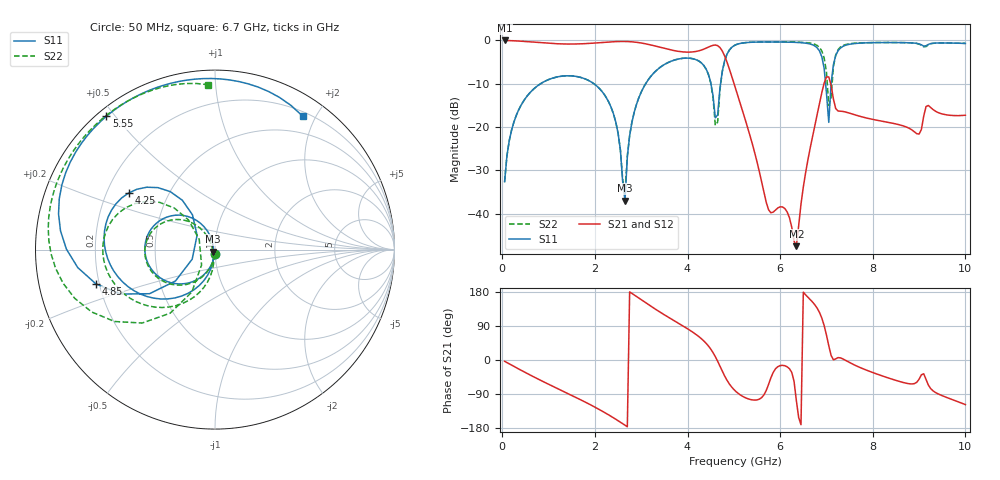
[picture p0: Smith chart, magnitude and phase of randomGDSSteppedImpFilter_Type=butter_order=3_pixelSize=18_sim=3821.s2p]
! freq	dB(S11)	phase(S11)	dB(S12)	phase(S12)
!  dB(S21)	phase(S21)	dB(S22)	phase(S22)
!S-par simulation data
#  GHz  S  DB  R 50
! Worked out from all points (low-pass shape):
!   200 points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, 50 MHz to 10 GHz, reference 50 ohm
!   highest |S21| = -0.01 dB at 50 MHz (marker M1); lowest = -47.5 dB at 6.35 GHz (marker M2)
!   |S21| within 3 dB of the highest: start of sweep to 4.776 GHz
!   lowest |S11| = -37.0 dB at 2.65 GHz (marker M3), VSWR 1.03, Z = 49.1 - j1.04 ohm
!   |S11| at or under -10 dB: start of sweep to 827.1 MHz; 1.978 GHz to 3.096 GHz (1.118 GHz wide, 44.1 % of centre); 4.506 GHz to 4.713 GHz (207.4 MHz wide, 4.5 % of centre) (the widest 3 of 4)
!   |S22| runs from -35.1 to -0.3 dB; largest |S21 - S12| = 0
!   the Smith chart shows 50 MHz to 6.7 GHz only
!   S11 on the Smith chart (normalised r, x): 50 MHz: 1.00, -0.05; 4.25 GHz: 0.29, +0.27; 4.85 GHz: 0.19, -0.14; 5.55 GHz: 0.03, +0.48; 6.7 GHz: 0.25, +1.82
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0.05  -32.62 -93.5  -0.01 -3.4  -0.01 -3.4  -32.62 -93.3
0.2  -20.72 -104.1  -0.06 -13.5  -0.06 -13.5  -20.72 -103.6
0.5  -13.35 -124.4  -0.25 -33.2  -0.25 -33.2  -13.35 -122.9
1.75  -8.73 158.7  -0.76 -108.5  -0.76 -108.5  -8.73 164.1
2.4  -16.93 115.7  -0.29 -152.5  -0.29 -152.5  -16.93 124.4
2.65  -36.95 -131.5  -0.24 -172.1  -0.24 -172.1  -35.08 -131.4
2.85  -16.52 -106.2  -0.37 171.5  -0.37 171.5  -16.47 -99.8
3.4  -6.29 -149.4  -1.56 126.8  -1.56 126.8  -6.27 -139.7
4.25  -4.80 146.8  -2.38 61.2  -2.38 61.2  -4.80 159.3
4.5  -9.64 123.5  -1.32 29.0  -1.32 29.0  -9.78 134.4
4.6  -17.87 141.3  -1.06 8.8  -1.06 8.8  -19.59 147.1
4.85  -3.22 -163.9  -4.94 -53.0  -4.94 -53.0  -3.25 -144.4
5.05  -0.97 167.1  -11.52 -83.7  -11.52 -83.7  -0.97 -173.4
5.55  -0.37 129.2  -30.26 -103.3  -30.26 -103.3  -0.35 150.9
6.35  -0.45 85.2  -47.49 -107.1  -47.49 -107.1  -0.39 113.6
6.7  -1.01 56.8  -22.16 152.9  -22.16 152.9  -0.73 92.4
6.9  -3.79 18.4  -12.04 110.6  -12.04 110.6  -2.44 68.3
7.05  -18.92 -137.3  -8.43 37.6  -8.43 37.6  -14.97 56.4
7.15  -5.61 137.4  -13.53 0.4  -13.53 0.4  -6.07 145.7
7.45  -1.00 81.8  -16.63 -3.5  -16.63 -3.5  -0.86 101.7
8.35  -0.49 30.5  -18.95 -48.0  -18.95 -48.0  -0.47 57.7
10  -0.70 -37.1  -17.26 -117.7  -17.26 -117.7  -0.68 -10.0
